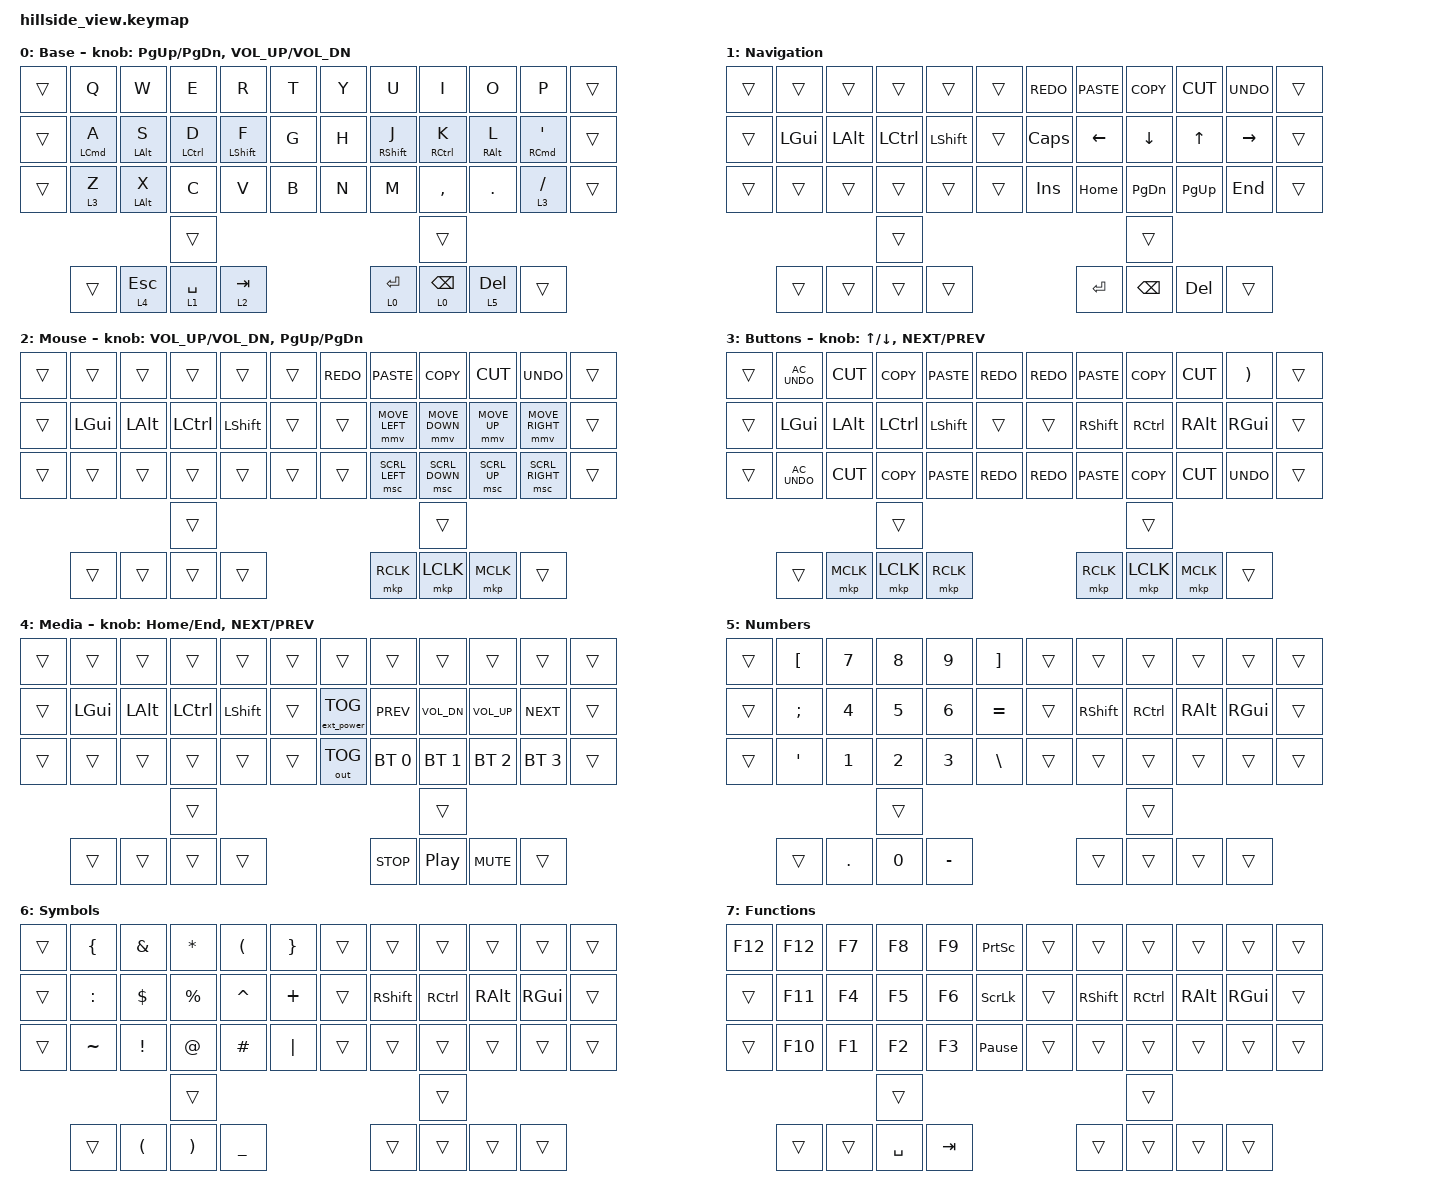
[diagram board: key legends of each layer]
#include <dt-bindings/zmk/mouse.h>
#include <behaviors/mouse_keys.dtsi>
#include <behaviors/studio_unlock.dtsi>
#include <behaviors.dtsi>
#include <dt-bindings/zmk/bt.h>
#include <dt-bindings/zmk/ext_power.h>
#include <dt-bindings/zmk/keys.h>
#include <dt-bindings/zmk/outputs.h>
#include <dt-bindings/zmk/pointing.h>

// Left bottom row pinky 2nd column

#ifndef LB5

#define LB5 24

#endif

// Right bottom row pinky 2nd column
#ifndef RB5

#define RB5 35

#endif

#define DEF 0
#define WIN 1
#define SWP 2
#define SYM 3
#define NUM 4
#define ADJ 5
#define QUICK_TAP_MS 175

&sk {
    release-after-ms = <600>;
    quick-release;
};

/ {
    /* assign `input-listener` to all pointing devices */
    /* &glidepoint0 on central, &glidepoint1 on peripheral */

    tpad_central_listener {
        compatible = "zmk,input-behavior-listener";
        device = <&glidepoint0>;
        y-invert;
        scale-multiplier = <2>;

        // xy-swap;
        // x-invert;
    };

    tpad_peripheral_listener {
        compatible = "zmk,input-behavior-listener";
        device = <&glidepoint1>;
        layers = <DEF WIN SWP SYM ADJ>;
        y-invert;
        scale-multiplier = <2>;

        /* NOTE: do NOT override event code here, */
        /*       let Cirque glidepoint reports click from taps */
        // evt-type = <INPUT_EV_REL>;
        // x-input-code = <INPUT_REL_X>;
        // y-input-code = <INPUT_REL_Y>;
    };

    tpad_peripheral_scroll {
        compatible = "zmk,input-behavior-listener";
        device = <&glidepoint1>;
        layers = <NUM>;

        /* NOTE: only apply input-code overriding for INPUT_EV_REL */

        evt-type = <INPUT_EV_REL>;
        x-input-code = <INPUT_REL_MISC>;
        y-input-code = <INPUT_REL_WHEEL>;
        bindings = <&ib_wheel_scaler 1 8>;
    };

    ib_wheel_scaler: ib_wheel_scaler {
        compatible = "zmk,input-behavior-scaler";
        #binding-cells = <2>;
        evt-type = <INPUT_EV_REL>;
        input-code = <INPUT_REL_WHEEL>;
    };
};

/ {
    conditional_layers {
        compatible = "zmk,conditional-layers";

        tri_layer {
            if-layers = <3 4>;
            then-layer = <5>;
        };
    };

    combos {
        compatible = "zmk,combos";

        caps {
            timeout-ms = <50>;
            key-positions = <LB5 RB5>;
            bindings = <&caps_word>;
        };

        // symbols

        cb_excl {
            bindings = <&kp EXCL>;
            key-positions = <1 13>;
            timeout-ms = <30>;
        };

        cb_at {
            bindings = <&kp AT>;
            key-positions = <2 14>;
            timeout-ms = <30>;
        };

        cb_hash {
            bindings = <&kp HASH>;
            key-positions = <3 15>;
            timeout-ms = <30>;
        };

        cb_dllr {
            bindings = <&kp DLLR>;
            key-positions = <4 16>;
            timeout-ms = <30>;
        };

        cb_prcnt {
            bindings = <&kp PRCNT>;
            key-positions = <5 17>;
            timeout-ms = <30>;
        };

        cb_caret {
            bindings = <&kp CARET>;
            key-positions = <6 18>;
            timeout-ms = <30>;
        };

        cb_amps {
            bindings = <&kp AMPS>;
            key-positions = <7 19>;
            timeout-ms = <30>;
        };

        cb_mult {
            bindings = <&kp ASTERISK>;
            key-positions = <8 20>;
            timeout-ms = <30>;
        };

        cb_lparen {
            bindings = <&kp LEFT_PARENTHESIS>;
            key-positions = <9 21>;
            timeout-ms = <30>;
        };

        cb_rparen {
            bindings = <&kp RIGHT_PARENTHESIS>;
            key-positions = <10 22>;
            timeout-ms = <30>;
        };
    };

    behaviors {
        lt_qk: layer_toggle_quick {
            compatible = "zmk,behavior-hold-tap";
            #binding-cells = <2>;
            flavor = "tap-preferred";
            tapping-term-ms = <150>;
            quick-tap-ms = <QUICK_TAP_MS>;
            bindings = <&mo>, <&kp>;
        };

        mt_sk: mod_tap_sticky {
            compatible = "zmk,behavior-hold-tap";
            #binding-cells = <2>;
            flavor = "tap-preferred";
            tapping-term-ms = <150>;
            quick-tap-ms = <200>;
            bindings = <&sk>, <&kp>;
        };

        ht: hold_tap {
            compatible = "zmk,behavior-hold-tap";
            #binding-cells = <2>;
            tapping-term-ms = <200>;
            quick-tap-ms = <200>;
            flavor = "tap-preferred";
            bindings = <&kp>, <&kp>;
        };

        lswp: left_swp {
            compatible = "zmk,behavior-tap-dance";
            #binding-cells = <0>;
            tapping-term-ms = <200>;
            bindings = <&sk LGUI>, <&mo 2>, <&tog 2>;
        };

        rswp: right_swap {
            compatible = "zmk,behavior-tap-dance";
            #binding-cells = <0>;
            tapping-term-ms = <200>;
            bindings = <&sk RGUI>, <&mo 2>, <&tog 2>;
        };
    };

    keymap {
        compatible = "zmk,keymap";

        base_layer {
            display-name = "Base";
            bindings = <
&trans  &kp Q               &kp W           &kp E        &kp R        &kp T      &kp Y  &kp U        &kp I            &kp O            &kp P         &trans
&trans  &mt LEFT_COMMAND A  &mt LEFT_ALT S  &mt LCTRL D  &mt LSHFT F  &kp G      &kp H  &mt RSHFT J  &mt RCTRL K      &mt RIGHT_ALT L  &mt RCMD SQT  &trans
&trans  &lt 3 Z             &mt_sk LALT X   &kp C        &kp V        &kp B      &kp N  &kp M        &kp COMMA        &kp DOT          &lt 3 SLASH   &trans
                                            &trans                                                   &trans
        &trans              &lt 4 ESC       &lt 1 SPACE  &lt 2 TAB                      &lt 0 ENTER  &lt 0 BACKSPACE  &lt 5 DEL        &trans
            >;

            sensor-bindings = <&inc_dec_kp PG_UP PG_DN &inc_dec_kp C_VOL_UP C_VOL_DN>;
        };

        nav_layer {
            display-name = "Navigation";
            bindings = <
&trans  &trans    &trans    &trans     &trans     &trans      &kp K_REDO  &kp K_PASTE  &kp K_COPY     &kp K_CUT    &kp K_UNDO  &trans
&trans  &kp LGUI  &kp LALT  &kp LCTRL  &kp LSHFT  &trans      &kp CAPS    &kp LEFT     &kp DOWN       &kp UP       &kp RIGHT   &trans
&trans  &trans    &trans    &trans     &trans     &trans      &kp INS     &kp HOME     &kp PAGE_DOWN  &kp PAGE_UP  &kp END     &trans
                            &trans                                                     &trans
        &trans    &trans    &trans     &trans                             &kp RET      &kp BSPC       &kp DEL      &trans
            >;
        };

        mouse_layer {
            display-name = "Mouse";
            bindings = <
&trans  &trans    &trans    &trans     &trans     &trans      &kp K_REDO  &kp K_PASTE     &kp K_COPY      &kp K_CUT     &kp K_UNDO       &trans
&trans  &kp LGUI  &kp LALT  &kp LCTRL  &kp LSHFT  &trans      &trans      &mmv MOVE_LEFT  &mmv MOVE_DOWN  &mmv MOVE_UP  &mmv MOVE_RIGHT  &trans
&trans  &trans    &trans    &trans     &trans     &trans      &trans      &msc SCRL_LEFT  &msc SCRL_DOWN  &msc SCRL_UP  &msc SCRL_RIGHT  &trans
                            &trans                                                        &trans
        &trans    &trans    &trans     &trans                             &mkp RCLK       &mkp LCLK       &mkp MCLK     &trans
            >;

            sensor-bindings = <&inc_dec_kp C_VOL_UP C_VOL_DN &inc_dec_kp PG_UP PG_DN>;
        };

        button_layer {
            display-name = "Buttons";
            bindings = <
&trans  &kp C_AC_UNDO  &kp K_CUT  &kp K_COPY  &kp K_PASTE  &kp K_REDO      &kp K_REDO  &kp K_PASTE  &kp K_COPY  &kp K_CUT  &kp RPAR    &trans
&trans  &kp LGUI       &kp LALT   &kp LCTRL   &kp LSHFT    &trans          &trans      &kp RSHFT    &kp RCTRL   &kp RALT   &kp RGUI    &trans
&trans  &kp C_AC_UNDO  &kp K_CUT  &kp K_COPY  &kp K_PASTE  &kp K_REDO      &kp K_REDO  &kp K_PASTE  &kp K_COPY  &kp K_CUT  &kp K_UNDO  &trans
                                  &trans                                                            &trans
        &trans         &mkp MCLK  &mkp LCLK   &mkp RCLK                                &mkp RCLK    &mkp LCLK   &mkp MCLK  &trans
            >;

            sensor-bindings = <&inc_dec_kp UP DOWN &inc_dec_kp C_NEXT C_PREV>;
        };

        media_layer {
            display-name = "Media";
            bindings = <
&trans  &trans    &trans    &trans     &trans     &trans      &trans             &trans        &trans            &trans        &trans        &trans
&trans  &kp LGUI  &kp LALT  &kp LCTRL  &kp LSHFT  &trans      &ext_power EP_TOG  &kp C_PREV    &kp C_VOL_DN      &kp C_VOL_UP  &kp C_NEXT    &trans
&trans  &trans    &trans    &trans     &trans     &trans      &out OUT_TOG       &bt BT_SEL 0  &bt BT_SEL 1      &bt BT_SEL 2  &bt BT_SEL 3  &trans
                            &trans                                                             &trans
        &trans    &trans    &trans     &trans                                    &kp C_STOP    &kp C_PLAY_PAUSE  &kp K_MUTE    &trans
            >;

            sensor-bindings = <&inc_dec_kp HOME END &inc_dec_kp C_NEXT C_PREV>;
        };

        num_layer {
            bindings = <
&trans  &kp LBKT  &kp N7   &kp N8  &kp N9     &kp RBKT       &trans  &trans     &trans     &trans    &trans    &trans
&trans  &kp SEMI  &kp N4   &kp N5  &kp N6     &kp EQUAL      &trans  &kp RSHFT  &kp RCTRL  &kp RALT  &kp RGUI  &trans
&trans  &kp APOS  &kp N1   &kp N2  &kp N3     &kp BSLH       &trans  &trans     &trans     &trans    &trans    &trans
                           &trans                                               &trans
        &trans    &kp DOT  &kp N0  &kp MINUS                         &trans     &trans     &trans    &trans
            >;

            label = "Numbers";
        };

        sym_layer {
            bindings = <
&trans  &kp LBRC   &kp AMPS              &kp ASTERISK           &kp LEFT_PARENTHESIS  &kp RIGHT_BRACE      &trans  &trans     &trans     &trans    &trans    &trans
&trans  &kp COLON  &kp DOLLAR            &kp PERCENT            &kp CARET             &kp PLUS             &trans  &kp RSHFT  &kp RCTRL  &kp RALT  &kp RGUI  &trans
&trans  &kp TILDE  &kp EXCLAMATION       &kp AT_SIGN            &kp HASH              &kp PIPE             &trans  &trans     &trans     &trans    &trans    &trans
                                         &trans                                                                               &trans
        &trans     &kp LEFT_PARENTHESIS  &kp RIGHT_PARENTHESIS  &kp UNDERSCORE                                     &trans     &trans     &trans    &trans
            >;

            label = "Symbols";
        };

        fnc_layer {
            bindings = <
&kp F12  &kp F12  &kp F7  &kp F8     &kp F9   &kp PRINTSCREEN      &trans  &trans     &trans     &trans    &trans    &trans
&trans   &kp F11  &kp F4  &kp F5     &kp F6   &kp SCROLLLOCK       &trans  &kp RSHFT  &kp RCTRL  &kp RALT  &kp RGUI  &trans
&trans   &kp F10  &kp F1  &kp F2     &kp F3   &kp PAUSE_BREAK      &trans  &trans     &trans     &trans    &trans    &trans
                          &trans                                                      &trans
         &trans   &trans  &kp SPACE  &kp TAB                               &trans     &trans     &trans    &trans
            >;

            label = "Functions";
        };
    };
};
